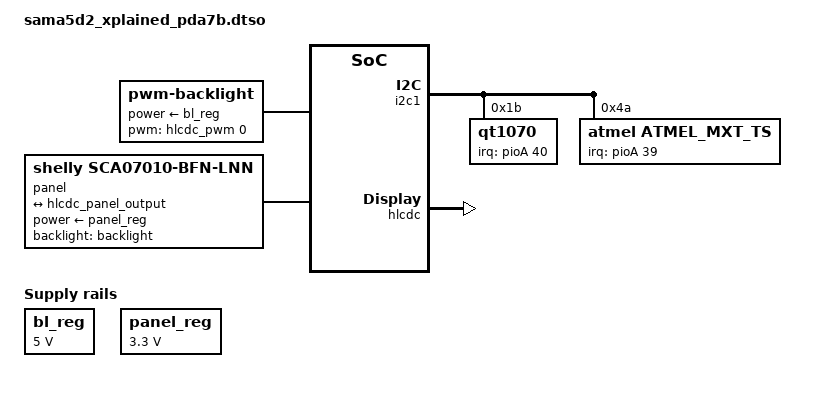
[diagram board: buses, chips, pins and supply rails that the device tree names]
// SPDX-License-Identifier: (GPL-2.0+ OR MIT)
/*
 * sama5d2_xplained_pda7b.dtso - Device Tree file for SAMA5D2 Xplained board
 * overlay blob for PDA7000B LCD.
 *
 * Copyright (C) 2018 Microchip Technology, Inc.
 * Author: Cristian Birsan <cristian.birsan@microchip.com>
 *
 */
/dts-v1/;
/plugin/;

#include "sama5d2-pinfunc.h"
#include "dt-bindings/pinctrl/at91.h"

&i2c1 {
	#address-cells = <1>;
	#size-cells = <0>;
	qt1070: keyboard@1b {
		compatible = "qt1070";
		reg = <0x1b>;
		interrupt-parent = <&pioA>;
		interrupts = <40 0x0>;
		pinctrl-names = "default";
		pinctrl-0 = <&pinctrl_qt1070_irq>;
		wakeup-source;
	};

	atmel_mxt_ts@4a {
		compatible = "atmel,atmel_mxt_ts";
		reg = <0x4a>;
		interrupt-parent = <&pioA>;
		interrupts = <39 0x0>;
		pinctrl-names = "default";
		pinctrl-0 = <&pinctrl_mxt_irq>;
	};
};

&hlcdc {
	status = "okay";

	hlcdc-display-controller {
	pinctrl-names = "default";
	pinctrl-0 = <&pinctrl_lcd_base &pinctrl_lcd_rgb666>;
		port@0 {
			#address-cells = <1>;
			#size-cells = <0>;
			hlcdc_panel_output: endpoint@0 {
				reg = <0>;
				remote-endpoint = <&panel_input>;
			};
		};
	};

	hlcdc_pwm: hlcdc-pwm {
		pinctrl-names = "default";
		pinctrl-0 = <&pinctrl_lcd_pwm>;
	};
};

&pioA {
	pinctrl_qt1070_irq: pinctrl_qt1070_irq {
		pinmux = <PIN_PB8__GPIO>;
		bias-pull-up;
		input-debounce = <1>;
	};

	pinctrl_mxt_irq: pinctrl_mxt_irq {
		pinmux = <PIN_PB7__GPIO>;
		bias-pull-up;
		input-debounce = <1>;
	};

	pinctrl_lcd_base: pinctrl_lcd_base {
		pinmux = <PIN_PC30__LCDVSYNC>,
			 <PIN_PC31__LCDHSYNC>,
			 <PIN_PD1__LCDDEN>,
			 <PIN_PD0__LCDPCK>;
		bias-disable;
		atmel,drive-strength = <ATMEL_PIO_DRVSTR_ME>;
	};

	pinctrl_lcd_pwm: pinctrl_lcd_pwm {
		pinmux = <PIN_PC28__LCDPWM>;
		bias-disable;
	};

	pinctrl_lcd_rgb666: pinctrl_lcd_rgb666 {
		pinmux = <PIN_PC10__LCDDAT2>,
			 <PIN_PC11__LCDDAT3>,
			 <PIN_PC12__LCDDAT4>,
			 <PIN_PC13__LCDDAT5>,
			 <PIN_PC14__LCDDAT6>,
			 <PIN_PC15__LCDDAT7>,
			 <PIN_PC16__LCDDAT10>,
			 <PIN_PC17__LCDDAT11>,
			 <PIN_PC18__LCDDAT12>,
			 <PIN_PC19__LCDDAT13>,
			 <PIN_PC20__LCDDAT14>,
			 <PIN_PC21__LCDDAT15>,
			 <PIN_PC22__LCDDAT18>,
			 <PIN_PC23__LCDDAT19>,
			 <PIN_PC24__LCDDAT20>,
			 <PIN_PC25__LCDDAT21>,
			 <PIN_PC26__LCDDAT22>,
			 <PIN_PC27__LCDDAT23>;
		bias-disable;
	};
};

&{/} {
	model = "Atmel SAMA5D2 Xplained TM7000B";

	backlight: backlight {
		compatible = "pwm-backlight";
		pwms = <&hlcdc_pwm 0 50000 0>;
		brightness-levels = <0 4 8 16 32 64 128 255>;
		default-brightness-level = <7>;
		power-supply = <&bl_reg>;
		status = "okay";
	};

	bl_reg: backlight_regulator {
		compatible = "regulator-fixed";
		regulator-name = "backlight-power-supply";
		regulator-min-microvolt = <5000000>;
		regulator-max-microvolt = <5000000>;
		status = "okay";
	};

	panel: panel {
		compatible = "shelly,sca07010-bfn-lnn", "simple-panel";
		backlight = <&backlight>;
		power-supply = <&panel_reg>;
		#address-cells = <1>;
		#size-cells = <0>;
		status = "okay";

		port@0 {
			reg = <0>;
			#address-cells = <1>;
			#size-cells = <0>;

			panel_input: endpoint@0 {
				reg = <0>;
				remote-endpoint = <&hlcdc_panel_output>;
			};
		};
	};

	panel_reg: panel_regulator {
		compatible = "regulator-fixed";
		regulator-name = "panel-power-supply";
		regulator-min-microvolt = <3300000>;
		regulator-max-microvolt = <3300000>;
		status = "okay";
	};
};

&can0 {
	status = "disabled";
};

&can1 {
	status = "disabled";
};
